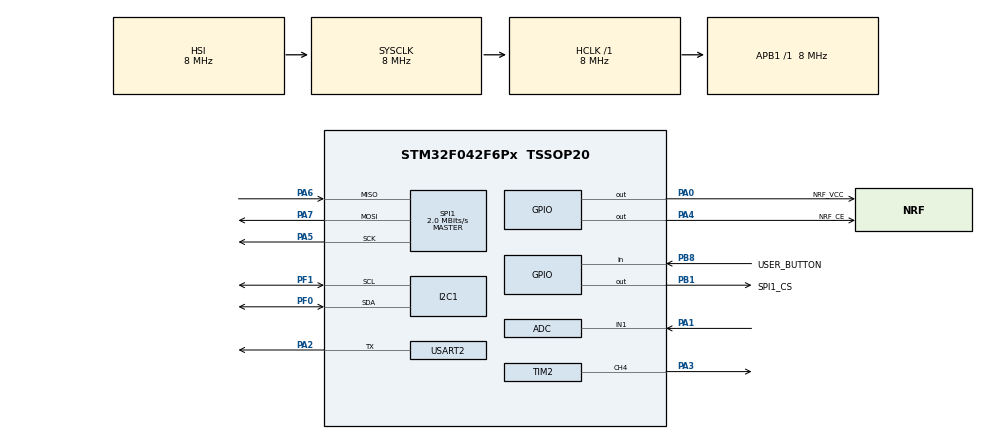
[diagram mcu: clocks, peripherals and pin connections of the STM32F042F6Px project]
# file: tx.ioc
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ADC.ClockPrescaler=ADC_CLOCK_ASYNC_DIV1
ADC.ContinuousConvMode=ENABLE
ADC.DMAContinuousRequests=DISABLE
ADC.DataAlign=ADC_DATAALIGN_RIGHT
ADC.DiscontinuousConvMode=DISABLE
ADC.EOCSelection=ADC_EOC_SEQ_CONV
ADC.EnableAnalogWatchDog=false
ADC.ExternalTrigConv=ADC_SOFTWARE_START
ADC.ExternalTrigConvEdge=ADC_EXTERNALTRIGCONVEDGE_NONE
ADC.LowPowerAutoPowerOff=DISABLE
ADC.LowPowerAutoWait=DISABLE
ADC.Overrun=ADC_OVR_DATA_PRESERVED
ADC.Resolution=ADC_RESOLUTION_8B
ADC.SamplingTime=ADC_SAMPLETIME_71CYCLES_5
ADC.ScanConvMode=ADC_SCAN_DIRECTION_FORWARD
IWDG.Prescaler=IWDG_PRESCALER_32
Mcu.Family=STM32F0
Mcu.Name=STM32F042F6Px
Mcu.Package=TSSOP20
NVIC.RTC_IRQn=true\:1\:0\:true\:false\:true\:true
NVIC.TIM17_IRQn=true\:0\:0\:false\:false\:true\:true
PA0.GPIO_Label=NRF_VCC
PA0.GPIO_ModeDefaultOutputPP=GPIO_MODE_OUTPUT_OD
PA0.PinState=GPIO_PIN_SET
PA0.Signal=GPIO_Output
PA1.Mode=IN1
PA1.Signal=ADC_IN1
PA13.Mode=Serial_Wire
PA13.Signal=SYS_SWDIO
PA14.Mode=Serial_Wire
PA14.Signal=SYS_SWCLK
PA2.Mode=Half_duplex(single_wire_mode)
PA2.Signal=USART2_TX
PA3.Signal=S_TIM2_CH4
PA4.GPIO_Label=NRF_CE
PA4.Signal=GPIO_Output
PA5.Mode=Full_Duplex_Master
PA5.Signal=SPI1_SCK
PA6.Mode=Full_Duplex_Master
PA6.Signal=SPI1_MISO
PA7.Mode=Full_Duplex_Master
PA7.Signal=SPI1_MOSI
PB1.GPIO_Label=SPI1_CS
PB1.PinState=GPIO_PIN_SET
PB1.Signal=GPIO_Output
PB8.GPIO_Label=USER_BUTTON
PB8.GPIO_PuPd=GPIO_NOPULL
PB8.Signal=GPIO_Input
PF0-OSC_IN.Mode=I2C
PF0-OSC_IN.Signal=I2C1_SDA
PF1-OSC_OUT.Mode=I2C
PF1-OSC_OUT.Signal=I2C1_SCL
ProjectManager.HeapSize=0x200
ProjectManager.StackSize=0x400
ProjectManager.TargetToolchain=MDK-ARM V5
RCC.AHBFreq_Value=8000000
RCC.APB1Freq_Value=8000000
RCC.APB1TimFreq_Value=8000000
RCC.HCLKFreq_Value=8000000
RCC.SYSCLKFreq_VALUE=8000000
RTC.Alarm=RTC_ALARM_A
RTC.AlarmMaskDateWeekDay=RTC_ALARMMASK_DATEWEEKDAY
RTC.AlarmMaskHours=RTC_ALARMMASK_HOURS
RTC.AlarmMaskMinutes=RTC_ALARMMASK_MINUTES
RTC.AsynchPrediv=125
RTC.Seconds_A=5
RTC.SynchPrediv=0
SH.S_TIM2_CH4.0=TIM2_CH4,PWM Generation4 CH4
SPI1.BaudRatePrescaler=SPI_BAUDRATEPRESCALER_4
SPI1.CalculateBaudRate=2.0 MBits/s
SPI1.DataSize=SPI_DATASIZE_8BIT
SPI1.Direction=SPI_DIRECTION_2LINES
SPI1.Mode=SPI_MODE_MASTER
SPI1.VirtualType=VM_MASTER
TIM17.Period=16666
TIM17.Prescaler=7
TIM2.Channel-PWM\ Generation4\ CH4=TIM_CHANNEL_4
TIM2.Period=255
TIM2.Prescaler=399
USART2.BaudRate=115200
USART2.Mode=MODE_TX
USART2.TxPinLevelInvertParam=UART_ADVFEATURE_TXINV_DISABLE
USART2.VirtualMode-Half_duplex(single_wire_mode)=VM_ASYNC
VP_ADC_Vref_Input.Mode=IN-Vrefint
VP_IWDG_VS_IWDG.Mode=IWDG_Activate
VP_RTC_VS_RTC_Activate.Mode=RTC_Enabled
VP_RTC_VS_RTC_Alarm_A_Intern.Mode=Alarm A
VP_RTC_VS_RTC_Calendar.Mode=RTC_Calendar
VP_TIM17_VS_ClockSourceINT.Mode=Enable_Timer
VP_TIM2_VS_ClockSourceINT.Mode=Internal
board=custom

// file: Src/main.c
/**
  ******************************************************************************
  * @file           : main.c
  * @brief          : Main program body
  ******************************************************************************
  ** This notice applies to any and all portions of this file
  * that are not between comment pairs USER CODE BEGIN and
  * USER CODE END. Other portions of this file, whether
  * inserted by the user or by software development tools
  * are owned by their respective copyright owners.
  *
  * COPYRIGHT(c) 2019 STMicroelectronics
  *
  * Redistribution and use in source and binary forms, with or without modification,
  * are permitted provided that the following conditions are met:
  *   1. Redistributions of source code must retain the above copyright notice,
  *      this list of conditions and the following disclaimer.
  *   2. Redistributions in binary form must reproduce the above copyright notice,
  *      this list of conditions and the following disclaimer in the documentation
  *      and/or other materials provided with the distribution.
  *   3. Neither the name of STMicroelectronics nor the names of its contributors
  *      may be used to endorse or promote products derived from this software
  *      without specific prior written permission.
  *
  * THIS SOFTWARE IS PROVIDED BY THE COPYRIGHT HOLDERS AND CONTRIBUTORS "AS IS"
  * AND ANY EXPRESS OR IMPLIED WARRANTIES, INCLUDING, BUT NOT LIMITED TO, THE
  * IMPLIED WARRANTIES OF MERCHANTABILITY AND FITNESS FOR A PARTICULAR PURPOSE ARE
  * DISCLAIMED. IN NO EVENT SHALL THE COPYRIGHT HOLDER OR CONTRIBUTORS BE LIABLE
  * FOR ANY DIRECT, INDIRECT, INCIDENTAL, SPECIAL, EXEMPLARY, OR CONSEQUENTIAL
  * DAMAGES (INCLUDING, BUT NOT LIMITED TO, PROCUREMENT OF SUBSTITUTE GOODS OR
  * SERVICES; LOSS OF USE, DATA, OR PROFITS; OR BUSINESS INTERRUPTION) HOWEVER
  * CAUSED AND ON ANY THEORY OF LIABILITY, WHETHER IN CONTRACT, STRICT LIABILITY,
  * OR TORT (INCLUDING NEGLIGENCE OR OTHERWISE) ARISING IN ANY WAY OUT OF THE USE
  * OF THIS SOFTWARE, EVEN IF ADVISED OF THE POSSIBILITY OF SUCH DAMAGE.
  *
  ******************************************************************************
  */
#include "main.h"
#include "stm32f0xx_hal.h"

/* USER CODE BEGIN Includes */
#include <stdlib.h>
#include "shared.h"
#include "helpers.h"
#include "nrf24.h"
#include "VL53L0X.h"
#include "animation.h"
#include "sleepbutton.h"

#define STATE_IDLE 0
#define STATE_TRIGGERED 1

#define ENABLE_LED 1

/* USER CODE END Includes */

ADC_HandleTypeDef hadc;

I2C_HandleTypeDef hi2c1;

IWDG_HandleTypeDef hiwdg;

RTC_HandleTypeDef hrtc;

SPI_HandleTypeDef hspi1;

TIM_HandleTypeDef htim2;
TIM_HandleTypeDef htim17;

UART_HandleTypeDef huart2;

/* USER CODE BEGIN PV */
/* Private variables ---------------------------------------------------------*/
volatile uint32_t wakeup_count = 1;
uint8_t data_array[NRF_PAYLOAD_SIZE];
uint8_t rx_address[5] = {0xBE,0xAD,0xA5,0xBA,0xBE};
uint8_t tx_address[5] = {0xDA,0xBB,0xED,0xC0,0x0C};

uint16_t baseline, diff_threshold, this_reading;
int16_t diff;
uint8_t button_result;
uint8_t new_stat_packet = 1;
uint8_t current_state = STATE_IDLE;
uint32_t vbat_mV;
uint16_t power_on_time_5s;

/* USER CODE END PV */

void SystemClock_Config(void);
static void MX_GPIO_Init(void);
static void MX_USART2_UART_Init(void);
static void MX_I2C1_Init(void);
static void MX_SPI1_Init(void);
static void MX_RTC_Init(void);
static void MX_TIM2_Init(void);
static void MX_TIM17_Init(void);
static void MX_ADC_Init(void);
static void MX_IWDG_Init(void);

void HAL_TIM_MspPostInit(TIM_HandleTypeDef *htim);

/* USER CODE BEGIN PFP */
/* Private function prototypes -----------------------------------------------*/

/* USER CODE END PFP */

/* USER CODE BEGIN 0 */
int fputc(int ch, FILE *f)
{
    HAL_UART_Transmit(&huart2, (unsigned char *)&ch, 1, 10);
    return ch;
}

// this happens every 200ms
void HAL_RTC_AlarmAEventCallback(RTC_HandleTypeDef *hrtc)
{
  if(wakeup_count % 6000 == 0) // 6000 * 0.2 = 20 minutes
  {
    check_battery(&vbat_mV);
    new_stat_packet = 1;
  }
  if(wakeup_count % 25 == 0) // 25 * 0.2 = 5 seconds
    power_on_time_5s++;
  wakeup_count++;
}

void HAL_TIM_PeriodElapsedCallback(TIM_HandleTypeDef *htim)
{
  if(htim->Instance == TIM17)
    animation_update();
}

/* USER CODE END 0 */

int main(void)
{

  /* MCU Configuration----------------------------------------------------------*/

  /* Reset of all peripherals, Initializes the Flash interface and the Systick. */
  HAL_Init();

  /* Configure the system clock */
  SystemClock_Config();

  /* Initialize all configured peripherals */
  MX_GPIO_Init();
  MX_USART2_UART_Init();
  MX_I2C1_Init();
  MX_SPI1_Init();
  MX_TIM2_Init();
  MX_TIM17_Init();
  MX_ADC_Init();
  /* USER CODE BEGIN 2 */
  NRF_ON();
  printf("\n\ndaytripper TX\ndekuNukem 2019\n\n");
  animation_init(&htim17, &htim2);
  start_animation(ANIMATION_TYPE_BREATHING);
  HAL_Delay(2000);
  check_battery(&vbat_mV);

  // this should be behind check_battery, so it can completely shut down in low battery situation
  MX_IWDG_Init();
  /* USER CODE END 2 */

  /* Infinite loop */
  /* USER CODE BEGIN WHILE */

  VL53L0X_init();
  setTimeout(500);
  // in microseconds, longer time better accruacy, but consumes more power
  setMeasurementTimingBudget(25000); // default 33000

  printf("initializing NRF...");
  nrf24_init();
  nrf24_config(NRF_CHANNEL, NRF_PAYLOAD_SIZE);
  nrf24_tx_address(tx_address);
  nrf24_rx_address(rx_address);
  HAL_GPIO_WritePin(NRF_CE_GPIO_Port, NRF_CE_Pin, GPIO_PIN_RESET);
  HAL_GPIO_WritePin(SPI1_CS_GPIO_Port, SPI1_CS_Pin, GPIO_PIN_SET);
  printf(" done\n");

  tof_calibrate(&baseline, &diff_threshold);
  start_animation(ANIMATION_TYPE_CONST_OFF);

  MX_RTC_Init();
  while (1)
  {
    HAL_IWDG_Refresh(&hiwdg);
  /* USER CODE END WHILE */

  /* USER CODE BEGIN 3 */
    button_result = button_update(HAL_GPIO_ReadPin(USER_BUTTON_GPIO_Port, USER_BUTTON_Pin), wakeup_count);
    if(button_result == 1)
    {
      iwdg_wait(20, ANIMATION_TYPE_BREATHING);
      tof_calibrate(&baseline, &diff_threshold);
      iwdg_wait(20, ANIMATION_TYPE_CONST_OFF);
      current_state = STATE_IDLE;
    }
    else if(button_result == 2)
      tx_test();

    if(new_stat_packet)
    {
      build_packet_stat(data_array, vbat_mV, power_on_time_5s);
      printf("sending stat packet... ");
      send_packet(data_array);
      new_stat_packet = 0;
    }

    // get a new distance reading from laser ToF sensor
    this_reading = get_single_distance_reading(&is_reading_valid);
    diff = abs(baseline - this_reading);

    if(is_reading_valid == 0)
      goto sleep;

    // if the change in distance is big enough...
    if(current_state == STATE_IDLE && diff > diff_threshold)
    {
      uint8_t count = 0;
      uint16_t this;
      printf(">> b:%d t0:%d ", baseline, this_reading);
      // .. take another reading back-to-back, to make sure it's not sensor noise
      while(count < WINDOW_SIZE)
      {
      	HAL_IWDG_Refresh(&hiwdg);
        this = get_single_distance_reading(&is_reading_valid);
        printf("t%d:%d ", count+1, this);
        if(is_reading_valid == 0)
          continue;
        if(abs(baseline - this) <= diff_threshold)
        {
          printf("X\n");
          goto sleep;
        }
        count++;
      }
      printf("\n");
      if(ENABLE_LED)
      	start_animation(ANIMATION_TYPE_CONST_ON);
      build_packet_trig(data_array, baseline, this_reading);
      send_packet(data_array);
      current_state = STATE_TRIGGERED;
    }
    else if(current_state == STATE_TRIGGERED && diff < diff_threshold)
    {
      start_animation(ANIMATION_TYPE_CONST_OFF);
      current_state = STATE_IDLE;
    }

    sleep:
    HAL_IWDG_Refresh(&hiwdg);
    nrf24_powerDown();
    HAL_PWR_EnterSTOPMode(PWR_LOWPOWERREGULATOR_ON, PWR_STOPENTRY_WFI);
  }
  /* USER CODE END 3 */

}

void SystemClock_Config(void)
{

  RCC_OscInitTypeDef RCC_OscInitStruct;
  RCC_ClkInitTypeDef RCC_ClkInitStruct;
  RCC_PeriphCLKInitTypeDef PeriphClkInit;

    /**Initializes the CPU, AHB and APB busses clocks
    */
  RCC_OscInitStruct.OscillatorType = RCC_OSCILLATORTYPE_HSI|RCC_OSCILLATORTYPE_HSI14
                              |RCC_OSCILLATORTYPE_LSI;
  RCC_OscInitStruct.HSIState = RCC_HSI_ON;
  RCC_OscInitStruct.HSI14State = RCC_HSI14_ON;
  RCC_OscInitStruct.HSICalibrationValue = 16;
  RCC_OscInitStruct.HSI14CalibrationValue = 16;
  RCC_OscInitStruct.LSIState = RCC_LSI_ON;
  RCC_OscInitStruct.PLL.PLLState = RCC_PLL_NONE;
  if (HAL_RCC_OscConfig(&RCC_OscInitStruct) != HAL_OK)
  {
    _Error_Handler(__FILE__, __LINE__);
  }

    /**Initializes the CPU, AHB and APB busses clocks
    */
  RCC_ClkInitStruct.ClockType = RCC_CLOCKTYPE_HCLK|RCC_CLOCKTYPE_SYSCLK
                              |RCC_CLOCKTYPE_PCLK1;
  RCC_ClkInitStruct.SYSCLKSource = RCC_SYSCLKSOURCE_HSI;
  RCC_ClkInitStruct.AHBCLKDivider = RCC_SYSCLK_DIV1;
  RCC_ClkInitStruct.APB1CLKDivider = RCC_HCLK_DIV1;

  if (HAL_RCC_ClockConfig(&RCC_ClkInitStruct, FLASH_LATENCY_0) != HAL_OK)
  {
    _Error_Handler(__FILE__, __LINE__);
  }

  PeriphClkInit.PeriphClockSelection = RCC_PERIPHCLK_I2C1|RCC_PERIPHCLK_RTC;
  PeriphClkInit.I2c1ClockSelection = RCC_I2C1CLKSOURCE_HSI;
  PeriphClkInit.RTCClockSelection = RCC_RTCCLKSOURCE_LSI;
  if (HAL_RCCEx_PeriphCLKConfig(&PeriphClkInit) != HAL_OK)
  {
    _Error_Handler(__FILE__, __LINE__);
  }

    /**Configure the Systick interrupt time
    */
  HAL_SYSTICK_Config(HAL_RCC_GetHCLKFreq()/1000);

    /**Configure the Systick
    */
  HAL_SYSTICK_CLKSourceConfig(SYSTICK_CLKSOURCE_HCLK);

  /* SysTick_IRQn interrupt configuration */
  HAL_NVIC_SetPriority(SysTick_IRQn, 0, 0);
}

/* ADC init function */
static void MX_ADC_Init(void)
{

  ADC_ChannelConfTypeDef sConfig;

    /**Configure the global features of the ADC (Clock, Resolution, Data Alignment and number of conversion)
    */
  hadc.Instance = ADC1;
  hadc.Init.ClockPrescaler = ADC_CLOCK_ASYNC_DIV1;
  hadc.Init.Resolution = ADC_RESOLUTION_8B;
  hadc.Init.DataAlign = ADC_DATAALIGN_RIGHT;
  hadc.Init.ScanConvMode = ADC_SCAN_DIRECTION_FORWARD;
  hadc.Init.EOCSelection = ADC_EOC_SEQ_CONV;
  hadc.Init.LowPowerAutoWait = DISABLE;
  hadc.Init.LowPowerAutoPowerOff = DISABLE;
  hadc.Init.ContinuousConvMode = ENABLE;
  hadc.Init.DiscontinuousConvMode = DISABLE;
  hadc.Init.ExternalTrigConv = ADC_SOFTWARE_START;
  hadc.Init.ExternalTrigConvEdge = ADC_EXTERNALTRIGCONVEDGE_NONE;
  hadc.Init.DMAContinuousRequests = DISABLE;
  hadc.Init.Overrun = ADC_OVR_DATA_PRESERVED;
  if (HAL_ADC_Init(&hadc) != HAL_OK)
  {
    _Error_Handler(__FILE__, __LINE__);
  }

    /**Configure for the selected ADC regular channel to be converted.
    */
  sConfig.Channel = ADC_CHANNEL_1;
  sConfig.Rank = ADC_RANK_CHANNEL_NUMBER;
  sConfig.SamplingTime = ADC_SAMPLETIME_71CYCLES_5;
  if (HAL_ADC_ConfigChannel(&hadc, &sConfig) != HAL_OK)
  {
    _Error_Handler(__FILE__, __LINE__);
  }

    /**Configure for the selected ADC regular channel to be converted.
    */
  sConfig.Channel = ADC_CHANNEL_VREFINT;
  if (HAL_ADC_ConfigChannel(&hadc, &sConfig) != HAL_OK)
  {
    _Error_Handler(__FILE__, __LINE__);
  }

}

/* I2C1 init function */
static void MX_I2C1_Init(void)
{

  hi2c1.Instance = I2C1;
  hi2c1.Init.Timing = 0x2000090E;
  hi2c1.Init.OwnAddress1 = 0;
  hi2c1.Init.AddressingMode = I2C_ADDRESSINGMODE_7BIT;
  hi2c1.Init.DualAddressMode = I2C_DUALADDRESS_DISABLE;
  hi2c1.Init.OwnAddress2 = 0;
  hi2c1.Init.OwnAddress2Masks = I2C_OA2_NOMASK;
  hi2c1.Init.GeneralCallMode = I2C_GENERALCALL_DISABLE;
  hi2c1.Init.NoStretchMode = I2C_NOSTRETCH_DISABLE;
  if (HAL_I2C_Init(&hi2c1) != HAL_OK)
  {
    _Error_Handler(__FILE__, __LINE__);
  }

    /**Configure Analogue filter
    */
  if (HAL_I2CEx_ConfigAnalogFilter(&hi2c1, I2C_ANALOGFILTER_ENABLE) != HAL_OK)
  {
    _Error_Handler(__FILE__, __LINE__);
  }

    /**Configure Digital filter
    */
  if (HAL_I2CEx_ConfigDigitalFilter(&hi2c1, 0) != HAL_OK)
  {
    _Error_Handler(__FILE__, __LINE__);
  }

}

/* IWDG init function */
static void MX_IWDG_Init(void)
{

  hiwdg.Instance = IWDG;
  hiwdg.Init.Prescaler = IWDG_PRESCALER_32;
  hiwdg.Init.Window = 4095;
  hiwdg.Init.Reload = 4095;
  if (HAL_IWDG_Init(&hiwdg) != HAL_OK)
  {
    _Error_Handler(__FILE__, __LINE__);
  }

}

/* RTC init function */
static void MX_RTC_Init(void)
{

  RTC_TimeTypeDef sTime;
  RTC_DateTypeDef sDate;
  RTC_AlarmTypeDef sAlarm;

    /**Initialize RTC Only
    */
  hrtc.Instance = RTC;
  hrtc.Init.HourFormat = RTC_HOURFORMAT_24;
  hrtc.Init.AsynchPrediv = 100;
  hrtc.Init.SynchPrediv = 0;
  hrtc.Init.OutPut = RTC_OUTPUT_DISABLE;
  hrtc.Init.OutPutPolarity = RTC_OUTPUT_POLARITY_HIGH;
  hrtc.Init.OutPutType = RTC_OUTPUT_TYPE_OPENDRAIN;
  if (HAL_RTC_Init(&hrtc) != HAL_OK)
  {
    _Error_Handler(__FILE__, __LINE__);
  }

    /**Initialize RTC and set the Time and Date
    */
  sTime.Hours = 0x0;
  sTime.Minutes = 0x0;
  sTime.Seconds = 0x0;
  sTime.DayLightSaving = RTC_DAYLIGHTSAVING_NONE;
  sTime.StoreOperation = RTC_STOREOPERATION_RESET;
  if (HAL_RTC_SetTime(&hrtc, &sTime, RTC_FORMAT_BCD) != HAL_OK)
  {
    _Error_Handler(__FILE__, __LINE__);
  }

  sDate.WeekDay = RTC_WEEKDAY_MONDAY;
  sDate.Month = RTC_MONTH_JANUARY;
  sDate.Date = 0x1;
  sDate.Year = 0x0;

  if (HAL_RTC_SetDate(&hrtc, &sDate, RTC_FORMAT_BCD) != HAL_OK)
  {
    _Error_Handler(__FILE__, __LINE__);
  }

    /**Enable the Alarm A
    */
  sAlarm.AlarmTime.Hours = 0x0;
  sAlarm.AlarmTime.Minutes = 0x0;
  sAlarm.AlarmTime.Seconds = 0x5;
  sAlarm.AlarmTime.SubSeconds = 0x0;
  sAlarm.AlarmTime.DayLightSaving = RTC_DAYLIGHTSAVING_NONE;
  sAlarm.AlarmTime.StoreOperation = RTC_STOREOPERATION_RESET;
  sAlarm.AlarmMask = RTC_ALARMMASK_DATEWEEKDAY|RTC_ALARMMASK_HOURS
                              |RTC_ALARMMASK_MINUTES;
  sAlarm.AlarmSubSecondMask = RTC_ALARMSUBSECONDMASK_ALL;
  sAlarm.AlarmDateWeekDaySel = RTC_ALARMDATEWEEKDAYSEL_DATE;
  sAlarm.AlarmDateWeekDay = 0x1;
  sAlarm.Alarm = RTC_ALARM_A;
  if (HAL_RTC_SetAlarm_IT(&hrtc, &sAlarm, RTC_FORMAT_BCD) != HAL_OK)
  {
    _Error_Handler(__FILE__, __LINE__);
  }

}

/* SPI1 init function */
static void MX_SPI1_Init(void)
{

  /* SPI1 parameter configuration*/
  hspi1.Instance = SPI1;
  hspi1.Init.Mode = SPI_MODE_MASTER;
  hspi1.Init.Direction = SPI_DIRECTION_2LINES;
  hspi1.Init.DataSize = SPI_DATASIZE_8BIT;
  hspi1.Init.CLKPolarity = SPI_POLARITY_LOW;
  hspi1.Init.CLKPhase = SPI_PHASE_1EDGE;
  hspi1.Init.NSS = SPI_NSS_SOFT;
  hspi1.Init.BaudRatePrescaler = SPI_BAUDRATEPRESCALER_4;
  hspi1.Init.FirstBit = SPI_FIRSTBIT_MSB;
  hspi1.Init.TIMode = SPI_TIMODE_DISABLE;
  hspi1.Init.CRCCalculation = SPI_CRCCALCULATION_DISABLE;
  hspi1.Init.CRCPolynomial = 7;
  hspi1.Init.CRCLength = SPI_CRC_LENGTH_DATASIZE;
  hspi1.Init.NSSPMode = SPI_NSS_PULSE_ENABLE;
  if (HAL_SPI_Init(&hspi1) != HAL_OK)
  {
    _Error_Handler(__FILE__, __LINE__);
  }

}

/* TIM2 init function */
static void MX_TIM2_Init(void)
{

  TIM_ClockConfigTypeDef sClockSourceConfig;
  TIM_MasterConfigTypeDef sMasterConfig;
  TIM_OC_InitTypeDef sConfigOC;

  htim2.Instance = TIM2;
  htim2.Init.Prescaler = 399;
  htim2.Init.CounterMode = TIM_COUNTERMODE_UP;
  htim2.Init.Period = 255;
  htim2.Init.ClockDivision = TIM_CLOCKDIVISION_DIV1;
  htim2.Init.AutoReloadPreload = TIM_AUTORELOAD_PRELOAD_DISABLE;
  if (HAL_TIM_Base_Init(&htim2) != HAL_OK)
  {
    _Error_Handler(__FILE__, __LINE__);
  }

  sClockSourceConfig.ClockSource = TIM_CLOCKSOURCE_INTERNAL;
  if (HAL_TIM_ConfigClockSource(&htim2, &sClockSourceConfig) != HAL_OK)
  {
    _Error_Handler(__FILE__, __LINE__);
  }

  if (HAL_TIM_PWM_Init(&htim2) != HAL_OK)
  {
    _Error_Handler(__FILE__, __LINE__);
  }

  sMasterConfig.MasterOutputTrigger = TIM_TRGO_RESET;
  sMasterConfig.MasterSlaveMode = TIM_MASTERSLAVEMODE_DISABLE;
  if (HAL_TIMEx_MasterConfigSynchronization(&htim2, &sMasterConfig) != HAL_OK)
  {
    _Error_Handler(__FILE__, __LINE__);
  }

  sConfigOC.OCMode = TIM_OCMODE_PWM1;
  sConfigOC.Pulse = 0;
  sConfigOC.OCPolarity = TIM_OCPOLARITY_HIGH;
  sConfigOC.OCFastMode = TIM_OCFAST_DISABLE;
  if (HAL_TIM_PWM_ConfigChannel(&htim2, &sConfigOC, TIM_CHANNEL_4) != HAL_OK)
  {
    _Error_Handler(__FILE__, __LINE__);
  }

  HAL_TIM_MspPostInit(&htim2);

}

/* TIM17 init function */
static void MX_TIM17_Init(void)
{

  htim17.Instance = TIM17;
  htim17.Init.Prescaler = 7;
  htim17.Init.CounterMode = TIM_COUNTERMODE_UP;
  htim17.Init.Period = 16666;
  htim17.Init.ClockDivision = TIM_CLOCKDIVISION_DIV1;
  htim17.Init.RepetitionCounter = 0;
  htim17.Init.AutoReloadPreload = TIM_AUTORELOAD_PRELOAD_DISABLE;
  if (HAL_TIM_Base_Init(&htim17) != HAL_OK)
  {
    _Error_Handler(__FILE__, __LINE__);
  }

}

/* USART2 init function */
static void MX_USART2_UART_Init(void)
{

  huart2.Instance = USART2;
  huart2.Init.BaudRate = 115200;
  huart2.Init.WordLength = UART_WORDLENGTH_8B;
  huart2.Init.StopBits = UART_STOPBITS_1;
  huart2.Init.Parity = UART_PARITY_NONE;
  huart2.Init.Mode = UART_MODE_TX;
  huart2.Init.HwFlowCtl = UART_HWCONTROL_NONE;
  huart2.Init.OverSampling = UART_OVERSAMPLING_16;
  huart2.Init.OneBitSampling = UART_ONE_BIT_SAMPLE_DISABLE;
  huart2.AdvancedInit.AdvFeatureInit = UART_ADVFEATURE_NO_INIT;
  if (HAL_HalfDuplex_Init(&huart2) != HAL_OK)
  {
    _Error_Handler(__FILE__, __LINE__);
  }

}

/** Configure pins as
        * Analog
        * Input
        * Output
        * EVENT_OUT
        * EXTI
*/
static void MX_GPIO_Init(void)
{

  GPIO_InitTypeDef GPIO_InitStruct;

  /* GPIO Ports Clock Enable */
  __HAL_RCC_GPIOB_CLK_ENABLE();
  __HAL_RCC_GPIOF_CLK_ENABLE();
  __HAL_RCC_GPIOA_CLK_ENABLE();

  /*Configure GPIO pin Output Level */
  HAL_GPIO_WritePin(NRF_VCC_GPIO_Port, NRF_VCC_Pin, GPIO_PIN_SET);

  /*Configure GPIO pin Output Level */
  HAL_GPIO_WritePin(NRF_CE_GPIO_Port, NRF_CE_Pin, GPIO_PIN_RESET);

  /*Configure GPIO pin Output Level */
  HAL_GPIO_WritePin(SPI1_CS_GPIO_Port, SPI1_CS_Pin, GPIO_PIN_SET);

  /*Configure GPIO pin : USER_BUTTON_Pin */
  GPIO_InitStruct.Pin = USER_BUTTON_Pin;
  GPIO_InitStruct.Mode = GPIO_MODE_INPUT;
  GPIO_InitStruct.Pull = GPIO_NOPULL;
  HAL_GPIO_Init(USER_BUTTON_GPIO_Port, &GPIO_InitStruct);

  /*Configure GPIO pin : NRF_VCC_Pin */
  GPIO_InitStruct.Pin = NRF_VCC_Pin;
  GPIO_InitStruct.Mode = GPIO_MODE_OUTPUT_OD;
  GPIO_InitStruct.Pull = GPIO_NOPULL;
  GPIO_InitStruct.Speed = GPIO_SPEED_FREQ_LOW;
  HAL_GPIO_Init(NRF_VCC_GPIO_Port, &GPIO_InitStruct);

  /*Configure GPIO pin : NRF_CE_Pin */
  GPIO_InitStruct.Pin = NRF_CE_Pin;
  GPIO_InitStruct.Mode = GPIO_MODE_OUTPUT_PP;
  GPIO_InitStruct.Pull = GPIO_NOPULL;
  GPIO_InitStruct.Speed = GPIO_SPEED_FREQ_LOW;
  HAL_GPIO_Init(NRF_CE_GPIO_Port, &GPIO_InitStruct);

  /*Configure GPIO pin : SPI1_CS_Pin */
  GPIO_InitStruct.Pin = SPI1_CS_Pin;
  GPIO_InitStruct.Mode = GPIO_MODE_OUTPUT_PP;
  GPIO_InitStruct.Pull = GPIO_NOPULL;
  GPIO_InitStruct.Speed = GPIO_SPEED_FREQ_LOW;
  HAL_GPIO_Init(SPI1_CS_GPIO_Port, &GPIO_InitStruct);

}

void _Error_Handler(char *file, int line)
{
  while(1)
  {
  }
}

/************************ (C) COPYRIGHT STMicroelectronics *****END OF FILE****/
